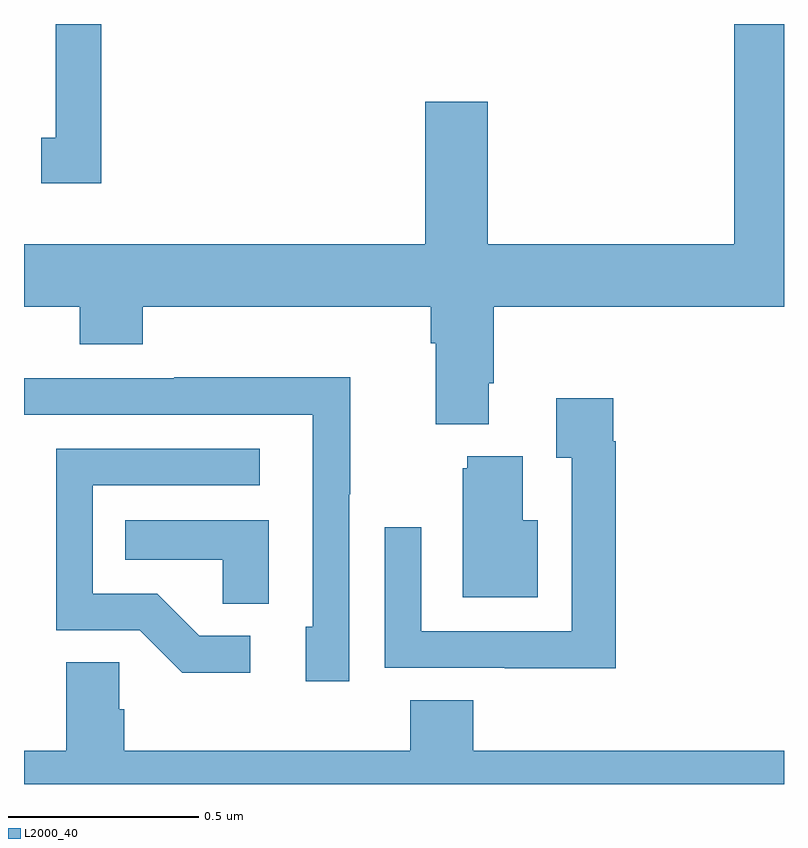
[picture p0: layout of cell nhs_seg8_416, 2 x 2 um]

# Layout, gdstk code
import gdstk
lib = gdstk.Library(unit=1e-6, precision=1e-09)
def P(c, l, *ps):  # polygons
    for p in ps: c.add(gdstk.Polygon(p, *l))
L2000_40 = (2000, 40)

nhs_seg8_416 = lib.new_cell('nhs_seg8_416')
P(nhs_seg8_416, L2000_40, [(117.223,1126.954),(117.236,1126.954),(117.236,1127.156),(118,1127.156),(118,1127.9),(117.869,1127.9),(117.869,1127.32),(117.22,1127.32),(117.22,1127.695),(117.056,1127.695),(117.056,1127.32),(116,1127.32),(116,1127.156),(116.147,1127.156),(116.147,1127.057),(116.312,1127.057),(116.312,1127.156),(117.071,1127.156),(117.071,1127.06),(117.083,1127.06),(117.083,1126.847),(117.223,1126.847)],
  [(116.203,1127.9),(116.084,1127.9),(116.084,1127.601),(116.045,1127.601),(116.045,1127.481),(116.203,1127.481)],
  [(116.856,1126.663),(116.859,1126.663),(116.859,1126.97),(116.395,1126.97),(116.395,1126.968),(116,1126.968),(116,1126.872),(116.76,1126.872),(116.76,1126.314),(116.741,1126.314),(116.741,1126.17),(116.856,1126.17)],
  [(117.557,1126.802),(117.55,1126.802),(117.55,1126.915),(117.401,1126.915),(117.401,1126.759),(117.441,1126.759),(117.441,1126.302),(117.045,1126.302),(117.045,1126.576),(116.949,1126.576),(116.949,1126.206),(117.265,1126.206),(117.265,1126.205),(117.557,1126.205)],
  [(116.596,1126.29),(116.461,1126.29),(116.35,1126.401),(116.181,1126.401),(116.181,1126.686),(116.62,1126.686),(116.62,1126.782),(116.085,1126.782),(116.085,1126.305),(116.304,1126.305),(116.417,1126.193),(116.596,1126.193)],
  [(117.352,1126.594),(117.313,1126.594),(117.313,1126.762),(117.167,1126.762),(117.167,1126.731),(117.155,1126.731),(117.155,1126.391),(117.352,1126.391)],
  [(116.644,1126.594),(116.266,1126.594),(116.266,1126.49),(116.523,1126.49),(116.523,1126.375),(116.644,1126.375)],
  [(118,1125.988),(117.182,1125.988),(117.182,1126.121),(117.017,1126.121),(117.017,1125.988),(116.264,1125.988),(116.264,1126.097),(116.25,1126.097),(116.25,1126.22),(116.111,1126.22),(116.111,1125.988),(116,1125.988),(116,1125.9),(118,1125.9)])

lib.write_gds('nhs_seg8_416.gds')
